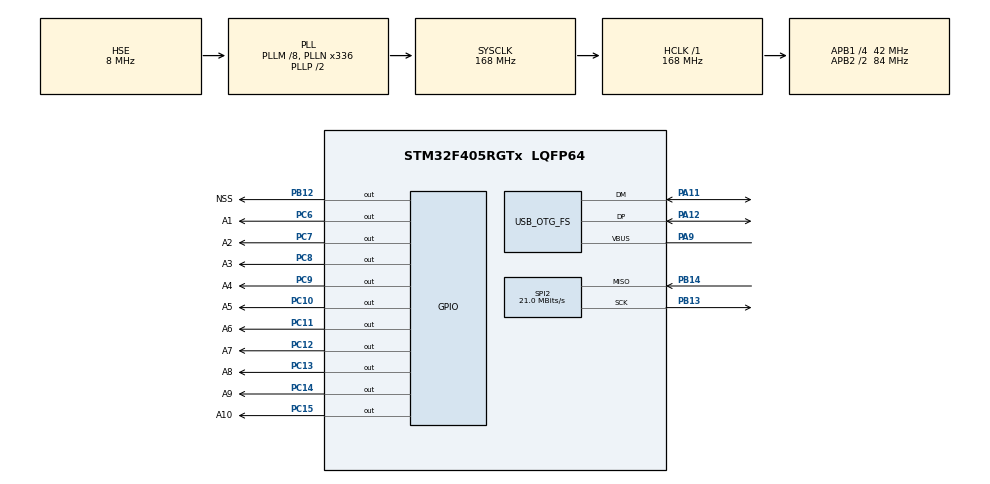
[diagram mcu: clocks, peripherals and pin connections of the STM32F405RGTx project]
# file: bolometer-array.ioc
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Dma.Request0=SPI2_RX
Dma.SPI2_RX.0.Direction=DMA_PERIPH_TO_MEMORY
Dma.SPI2_RX.0.FIFOMode=DMA_FIFOMODE_DISABLE
Dma.SPI2_RX.0.Instance=DMA1_Stream3
Dma.SPI2_RX.0.MemDataAlignment=DMA_MDATAALIGN_BYTE
Dma.SPI2_RX.0.MemInc=DMA_MINC_ENABLE
Dma.SPI2_RX.0.Mode=DMA_NORMAL
Dma.SPI2_RX.0.PeriphDataAlignment=DMA_PDATAALIGN_BYTE
Dma.SPI2_RX.0.PeriphInc=DMA_PINC_DISABLE
Dma.SPI2_RX.0.Priority=DMA_PRIORITY_LOW
Mcu.Family=STM32F4
Mcu.Name=STM32F405RGTx
Mcu.Package=LQFP64
NVIC.DMA1_Stream3_IRQn=true\:0\:0\:false\:false\:true\:false\:true\:true
NVIC.OTG_FS_IRQn=true\:0\:0\:false\:false\:true\:false\:true\:true
NVIC.PriorityGroup=NVIC_PRIORITYGROUP_4
NVIC.SPI2_IRQn=true\:0\:0\:false\:false\:true\:true\:true\:true
NVIC.TIM1_CC_IRQn=true\:0\:0\:false\:false\:true\:true\:true\:true
NVIC.TIM1_UP_TIM10_IRQn=true\:0\:0\:false\:false\:true\:true\:true\:true
PA11.Mode=Device_Only
PA11.Signal=USB_OTG_FS_DM
PA12.Mode=Device_Only
PA12.Signal=USB_OTG_FS_DP
PA13.Mode=Serial_Wire
PA13.Signal=SYS_JTMS-SWDIO
PA14.Mode=Serial_Wire
PA14.Signal=SYS_JTCK-SWCLK
PA9.Mode=Activate_VBUS
PA9.Signal=USB_OTG_FS_VBUS
PB12.GPIO_Label=NSS
PB12.GPIO_PuPd=GPIO_NOPULL
PB12.GPIO_Speed=GPIO_SPEED_FREQ_VERY_HIGH
PB12.PinState=GPIO_PIN_SET
PB12.Signal=GPIO_Output
PB13.Mode=RX_Only_Simplex_Unidirect_Master
PB13.Signal=SPI2_SCK
PB14.Mode=RX_Only_Simplex_Unidirect_Master
PB14.Signal=SPI2_MISO
PC10.GPIO_Label=A5
PC10.GPIO_Speed=GPIO_SPEED_FREQ_VERY_HIGH
PC10.Signal=GPIO_Output
PC11.GPIO_Label=A6
PC11.GPIO_Speed=GPIO_SPEED_FREQ_VERY_HIGH
PC11.Signal=GPIO_Output
PC12.GPIO_Label=A7
PC12.GPIO_Speed=GPIO_SPEED_FREQ_VERY_HIGH
PC12.Signal=GPIO_Output
PC13-ANTI_TAMP.GPIO_Label=A8
PC13-ANTI_TAMP.Signal=GPIO_Output
PC14-OSC32_IN.GPIO_Label=A9
PC14-OSC32_IN.Signal=GPIO_Output
PC15-OSC32_OUT.GPIO_Label=A10
PC15-OSC32_OUT.Signal=GPIO_Output
PC6.GPIO_Label=A1
PC6.GPIO_Speed=GPIO_SPEED_FREQ_VERY_HIGH
PC6.Signal=GPIO_Output
PC7.GPIO_Label=A2
PC7.GPIO_Speed=GPIO_SPEED_FREQ_VERY_HIGH
PC7.Signal=GPIO_Output
PC8.GPIO_Label=A3
PC8.GPIO_Speed=GPIO_SPEED_FREQ_VERY_HIGH
PC8.Signal=GPIO_Output
PC9.GPIO_Label=A4
PC9.GPIO_Speed=GPIO_SPEED_FREQ_VERY_HIGH
PC9.Signal=GPIO_Output
PH0-OSC_IN.Mode=HSE-External-Oscillator
PH0-OSC_IN.Signal=RCC_OSC_IN
PH1-OSC_OUT.Mode=HSE-External-Oscillator
PH1-OSC_OUT.Signal=RCC_OSC_OUT
ProjectManager.HeapSize=0x200
ProjectManager.StackSize=0x400
ProjectManager.TargetToolchain=EWARM V8.50
RCC.48MHZClocksFreq_Value=48000000
RCC.AHBFreq_Value=168000000
RCC.APB1CLKDivider=RCC_HCLK_DIV4
RCC.APB1Freq_Value=42000000
RCC.APB1TimFreq_Value=84000000
RCC.APB2CLKDivider=RCC_HCLK_DIV2
RCC.APB2Freq_Value=84000000
RCC.APB2TimFreq_Value=168000000
RCC.CortexFreq_Value=168000000
RCC.HCLKFreq_Value=168000000
RCC.HSE_VALUE=8000000
RCC.HSI_VALUE=16000000
RCC.LSE_VALUE=32768
RCC.PLLM=8
RCC.PLLN=336
RCC.PLLQ=7
RCC.SYSCLKFreq_VALUE=168000000
RCC.SYSCLKSource=RCC_SYSCLKSOURCE_PLLCLK
RCC.VCOOutputFreq_Value=336000000
SPI2.BaudRatePrescaler=SPI_BAUDRATEPRESCALER_2
SPI2.CalculateBaudRate=21.0 MBits/s
SPI2.DataSize=SPI_DATASIZE_8BIT
SPI2.Direction=SPI_DIRECTION_2LINES_RXONLY
SPI2.Mode=SPI_MODE_MASTER
SPI2.VirtualType=VM_MASTER
TIM1.Channel-Output\ Compare1\ No\ Output=TIM_CHANNEL_1
TIM1.Period=21
TIM1.Prescaler=7
TIM1.Pulse-Output\ Compare1\ No\ Output=18
USB_DEVICE.CLASS_NAME_FS=CDC
USB_DEVICE.VirtualMode-CDC_FS=Cdc
USB_DEVICE.VirtualModeFS=Cdc_FS
USB_OTG_FS.VirtualMode=Device_Only
VP_TIM1_VS_ClockSourceINT.Mode=Internal
VP_TIM1_VS_no_output1.Mode=Output Compare1 No Output
VP_USB_DEVICE_VS_USB_DEVICE_CDC_FS.Mode=CDC_FS
board=custom

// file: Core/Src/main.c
/* USER CODE BEGIN Header */
/**
  ******************************************************************************
  * @file           : main.c
  * @brief          : Main program body
  ******************************************************************************
  * @attention
  *
  * Copyright (c) 2026 STMicroelectronics.
  * All rights reserved.
  *
  * This software is licensed under terms that can be found in the LICENSE file
  * in the root directory of this software component.
  * If no LICENSE file comes with this software, it is provided AS-IS.
  *
  ******************************************************************************
  */
/* USER CODE END Header */
#include "main.h"
#include "dma.h"
#include "spi.h"
#include "tim.h"
#include "usb_device.h"
#include "gpio.h"

/* USER CODE BEGIN Includes */
#include "log.h"
#include "bolometer.h"
/* USER CODE END Includes */

/* USER CODE BEGIN PV */
// RT -- routine
// ER -- error
// ST -- state
volatile uint16_t flags_rt = 0;
volatile uint16_t flags_er = 0;

const uint16_t FLAG_RT_LOG_ENTRY_TRANSMIT_CPLT = 0x0001;
/*const uint16_t FLAG_RT_BOLOM_ADC_CNV_MODE = 0x0002;
const uint16_t FLAG_RT_BOLOM_ADC_ACQ_MODE = 0x0004;
const uint16_t FLAG_RT_BOLOM_DATA_ACQUIRED = 0x0008;*/

const uint16_t FLAG_ER_BOLOM_ADC_MODES_OVERLAP = 0x0001;
/* USER CODE END PV */

void SystemClock_Config(void);

/* USER CODE BEGIN 0 */
void device_init(void) {
  bolometer_init();

  log_device_info();

  HAL_TIM_Base_Start_IT(&htim1);
  HAL_TIM_OC_Start_IT(&htim1, TIM_CHANNEL_1);
}
/* USER CODE END 0 */

int main(void)
{

  /* MCU Configuration--------------------------------------------------------*/

  /* Reset of all peripherals, Initializes the Flash interface and the Systick. */
  HAL_Init();

  /* Configure the system clock */
  SystemClock_Config();

  /* Initialize all configured peripherals */
  MX_GPIO_Init();
  MX_DMA_Init();
  MX_SPI2_Init();
  MX_USB_DEVICE_Init();
  MX_TIM1_Init();
  /* USER CODE BEGIN 2 */
  device_init();
    // TO-DO: send "Hello, world!" via USB for debug purposes

  /* USER CODE END 2 */

  /* Infinite loop */
  /* USER CODE BEGIN WHILE */
  while (1)
  {
    // Log task routines control
    if(flags_rt & FLAG_RT_LOG_ENTRY_TRANSMIT_CPLT) {
      log_send_next_entry();
      flags_rt |= ~ FLAG_RT_LOG_ENTRY_TRANSMIT_CPLT;
    }

    // Log task errors control
    // TO-DO: implement!

    // Bolometer task routines control
    /*if(flags_rt & FLAG_RT_BOLOM_ADC_CNV_MODE) {
      bolometer_adc_cnv_handle();
      flags_rt |= ~FLAG_RT_BOLOM_ADC_CNV_MODE;
    }
    if(flags_rt & FLAG_RT_BOLOM_ADC_ACQ_MODE) {
      bolometer_adc_acq_handle();
      flags_rt |= ~FLAG_RT_BOLOM_ADC_ACQ_MODE;
    }
    if(flags_rt & FLAG_RT_BOLOM_DATA_ACQUIRED) {
      bolometer_data_processing_handle();
      flags_rt |= ~ FLAG_RT_BOLOM_DATA_ACQUIRED;
    }*/
    bolometer_handle();

    // Bolometer task errors control
    // TO-DO: implement!
    if(flags_er & FLAG_ER_BOLOM_ADC_MODES_OVERLAP) {
      log_add_entry(LOG_ENTRY_LVL_ERR, "unexpected overlap of bolometer states; former state preserved", 62);
    }
    /* USER CODE END WHILE */

  }
}

void SystemClock_Config(void)
{
  RCC_OscInitTypeDef RCC_OscInitStruct = {0};
  RCC_ClkInitTypeDef RCC_ClkInitStruct = {0};

  /** Configure the main internal regulator output voltage
  */
  __HAL_RCC_PWR_CLK_ENABLE();
  __HAL_PWR_VOLTAGESCALING_CONFIG(PWR_REGULATOR_VOLTAGE_SCALE1);

  /** Initializes the RCC Oscillators according to the specified parameters
  * in the RCC_OscInitTypeDef structure.
  */
  RCC_OscInitStruct.OscillatorType = RCC_OSCILLATORTYPE_HSE;
  RCC_OscInitStruct.HSEState = RCC_HSE_ON;
  RCC_OscInitStruct.PLL.PLLState = RCC_PLL_ON;
  RCC_OscInitStruct.PLL.PLLSource = RCC_PLLSOURCE_HSE;
  RCC_OscInitStruct.PLL.PLLM = 8;
  RCC_OscInitStruct.PLL.PLLN = 336;
  RCC_OscInitStruct.PLL.PLLP = RCC_PLLP_DIV2;
  RCC_OscInitStruct.PLL.PLLQ = 7;
  if (HAL_RCC_OscConfig(&RCC_OscInitStruct) != HAL_OK)
  {
    Error_Handler();
  }

  /** Initializes the CPU, AHB and APB buses clocks
  */
  RCC_ClkInitStruct.ClockType = RCC_CLOCKTYPE_HCLK|RCC_CLOCKTYPE_SYSCLK
                              |RCC_CLOCKTYPE_PCLK1|RCC_CLOCKTYPE_PCLK2;
  RCC_ClkInitStruct.SYSCLKSource = RCC_SYSCLKSOURCE_PLLCLK;
  RCC_ClkInitStruct.AHBCLKDivider = RCC_SYSCLK_DIV1;
  RCC_ClkInitStruct.APB1CLKDivider = RCC_HCLK_DIV4;
  RCC_ClkInitStruct.APB2CLKDivider = RCC_HCLK_DIV2;

  if (HAL_RCC_ClockConfig(&RCC_ClkInitStruct, FLASH_LATENCY_5) != HAL_OK)
  {
    Error_Handler();
  }
}

void Error_Handler(void)
{
  __disable_irq();
  while (1)
  {
  }
}
